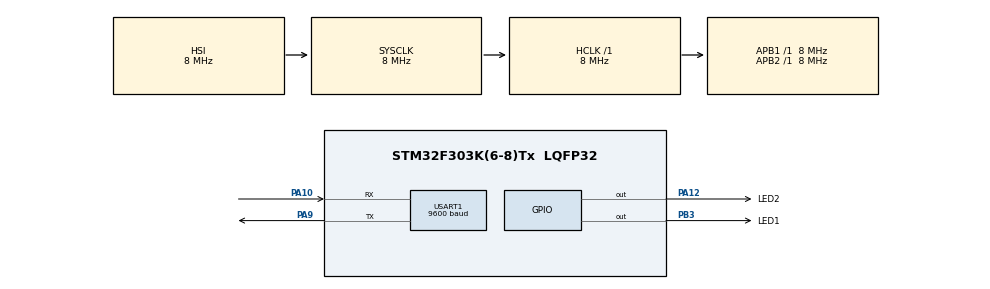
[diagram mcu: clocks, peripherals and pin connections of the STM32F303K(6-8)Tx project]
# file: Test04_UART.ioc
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Dma.Request0=USART1_RX
Dma.USART1_RX.0.Direction=DMA_PERIPH_TO_MEMORY
Dma.USART1_RX.0.Instance=DMA1_Channel5
Dma.USART1_RX.0.MemDataAlignment=DMA_MDATAALIGN_BYTE
Dma.USART1_RX.0.MemInc=DMA_MINC_ENABLE
Dma.USART1_RX.0.Mode=DMA_CIRCULAR
Dma.USART1_RX.0.PeriphDataAlignment=DMA_PDATAALIGN_BYTE
Dma.USART1_RX.0.PeriphInc=DMA_PINC_DISABLE
Dma.USART1_RX.0.Priority=DMA_PRIORITY_LOW
Mcu.Family=STM32F3
Mcu.Name=STM32F303K(6-8)Tx
Mcu.Package=LQFP32
NVIC.DMA1_Channel5_IRQn=true\:0\:0\:false\:true\:true\:2
NVIC.PriorityGroup=NVIC_PRIORITYGROUP_4
NVIC.USART1_IRQn=true\:0\:0\:false\:true\:true\:1
PA10.Mode=Asynchronous
PA10.Signal=USART1_RX
PA12.GPIO_Label=LED2
PA12.Signal=GPIO_Output
PA9.Mode=Asynchronous
PA9.Signal=USART1_TX
PB3.GPIO_Label=LED1
PB3.Signal=GPIO_Output
ProjectManager.HeapSize=0x200
ProjectManager.StackSize=0x400
ProjectManager.TargetToolchain=SW4STM32
RCC.AHBFreq_Value=8000000
RCC.APB1Freq_Value=8000000
RCC.APB2Freq_Value=8000000
RCC.CortexFreq_Value=8000000
RCC.HSE_VALUE=8000000
RCC.HSI_VALUE=8000000
RCC.SYSCLKFreq_VALUE=8000000
USART1.BaudRate=9600
USART1.WordLength=UART_WORDLENGTH_8B
board=Test04_UART

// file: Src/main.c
/**
  ******************************************************************************
  * File Name          : main.c
  * Description        : Main program body
  ******************************************************************************
  *
  * COPYRIGHT(c) 2017 STMicroelectronics
  *
  * Redistribution and use in source and binary forms, with or without modification,
  * are permitted provided that the following conditions are met:
  *   1. Redistributions of source code must retain the above copyright notice,
  *      this list of conditions and the following disclaimer.
  *   2. Redistributions in binary form must reproduce the above copyright notice,
  *      this list of conditions and the following disclaimer in the documentation
  *      and/or other materials provided with the distribution.
  *   3. Neither the name of STMicroelectronics nor the names of its contributors
  *      may be used to endorse or promote products derived from this software
  *      without specific prior written permission.
  *
  * THIS SOFTWARE IS PROVIDED BY THE COPYRIGHT HOLDERS AND CONTRIBUTORS "AS IS"
  * AND ANY EXPRESS OR IMPLIED WARRANTIES, INCLUDING, BUT NOT LIMITED TO, THE
  * IMPLIED WARRANTIES OF MERCHANTABILITY AND FITNESS FOR A PARTICULAR PURPOSE ARE
  * DISCLAIMED. IN NO EVENT SHALL THE COPYRIGHT HOLDER OR CONTRIBUTORS BE LIABLE
  * FOR ANY DIRECT, INDIRECT, INCIDENTAL, SPECIAL, EXEMPLARY, OR CONSEQUENTIAL
  * DAMAGES (INCLUDING, BUT NOT LIMITED TO, PROCUREMENT OF SUBSTITUTE GOODS OR
  * SERVICES; LOSS OF USE, DATA, OR PROFITS; OR BUSINESS INTERRUPTION) HOWEVER
  * CAUSED AND ON ANY THEORY OF LIABILITY, WHETHER IN CONTRACT, STRICT LIABILITY,
  * OR TORT (INCLUDING NEGLIGENCE OR OTHERWISE) ARISING IN ANY WAY OUT OF THE USE
  * OF THIS SOFTWARE, EVEN IF ADVISED OF THE POSSIBILITY OF SUCH DAMAGE.
  *
  ******************************************************************************
  */
#include "main.h"
#include "stm32f3xx_hal.h"

UART_HandleTypeDef huart1;
DMA_HandleTypeDef hdma_usart1_rx;

/* USER CODE BEGIN PV */
void put_c(uint8_t *);
void get_c(uint8_t *);
/* Private variables ---------------------------------------------------------*/
/* USER CODE END PV */

void SystemClock_Config(void);
void Error_Handler(void);
static void MX_GPIO_Init(void);
static void MX_DMA_Init(void);
static void MX_USART1_UART_Init(void);
static void MX_NVIC_Init(void);

/* USER CODE BEGIN PFP */
/* Private function prototypes -----------------------------------------------*/
/* USER CODE END PFP */

/* USER CODE BEGIN 0 */
/*uart data receive*/
uint8_t _buffer[4]={0,0,0,0};
/**/
uint8_t aTxBuffer[] = " ****UART_TwoBoards_ComIT****  ****UART_TwoBoards_ComIT****  ****UART_TwoBoards_ComIT**** ";
enum{RXBUFFSIZE = 5};
uint8_t RXBuffer[RXBUFFSIZE];
//uint8_t _RXBuffer[RXBUFFSIZE]="a";
uint8_t Uartready = 0;
/* USER CODE END 0 */

int main(void)
{

  /* USER CODE BEGIN 1 */
	uint8_t i = 0;
	uint8_t getdata[RXBUFFSIZE-1];
	uint8_t sdata[]="wako";
	uint8_t btn[13]={0,0,0,0,0,0,0,0,0,0,0,0,0};
  /* USER CODE END 1 */

  /* MCU Configuration----------------------------------------------------------*/

  /* Reset of all peripherals, Initializes the Flash interface and the Systick. */
  HAL_Init();

  /* Configure the system clock */
  SystemClock_Config();

  /* Initialize all configured peripherals */
  MX_GPIO_Init();
  MX_DMA_Init();
  MX_USART1_UART_Init();

  /* Initialize interrupts */
  MX_NVIC_Init();

  /* USER CODE BEGIN 2 */
	HAL_UART_Receive_DMA(&huart1, (uint8_t *)RXBuffer, RXBUFFSIZE);
  /* USER CODE END 2 */

  /* Infinite loop */
  while (1)
  {

  /* USER CODE BEGIN 3 */
		while(Uartready != 1){
		}
		Uartready = 0;
		get_c(getdata);
		if(getdata[3]==(getdata[0]+getdata[1]+getdata[2])){
			//put_c(getdata);
			btn[0]=getdata[0]&0x01!=0;
			btn[1]=getdata[0]&0x02!=0;
			btn[2]=getdata[0]&0x04!=0;
			btn[3]=getdata[0]&0x08!=0;
		}
	if(btn[0]){
			put_c(sdata);
	}

  }
  /* USER CODE END 3 */

}

/** System Clock Configuration
*/
void SystemClock_Config(void)
{

  RCC_OscInitTypeDef RCC_OscInitStruct;
  RCC_ClkInitTypeDef RCC_ClkInitStruct;
  RCC_PeriphCLKInitTypeDef PeriphClkInit;

    /**Initializes the CPU, AHB and APB busses clocks
    */
  RCC_OscInitStruct.OscillatorType = RCC_OSCILLATORTYPE_HSI;
  RCC_OscInitStruct.HSIState = RCC_HSI_ON;
  RCC_OscInitStruct.HSICalibrationValue = 16;
  RCC_OscInitStruct.PLL.PLLState = RCC_PLL_NONE;
  if (HAL_RCC_OscConfig(&RCC_OscInitStruct) != HAL_OK)
  {
    Error_Handler();
  }

    /**Initializes the CPU, AHB and APB busses clocks
    */
  RCC_ClkInitStruct.ClockType = RCC_CLOCKTYPE_HCLK|RCC_CLOCKTYPE_SYSCLK
                              |RCC_CLOCKTYPE_PCLK1|RCC_CLOCKTYPE_PCLK2;
  RCC_ClkInitStruct.SYSCLKSource = RCC_SYSCLKSOURCE_HSI;
  RCC_ClkInitStruct.AHBCLKDivider = RCC_SYSCLK_DIV1;
  RCC_ClkInitStruct.APB1CLKDivider = RCC_HCLK_DIV1;
  RCC_ClkInitStruct.APB2CLKDivider = RCC_HCLK_DIV1;

  if (HAL_RCC_ClockConfig(&RCC_ClkInitStruct, FLASH_LATENCY_0) != HAL_OK)
  {
    Error_Handler();
  }

  PeriphClkInit.PeriphClockSelection = RCC_PERIPHCLK_USART1;
  PeriphClkInit.Usart1ClockSelection = RCC_USART1CLKSOURCE_PCLK1;
  if (HAL_RCCEx_PeriphCLKConfig(&PeriphClkInit) != HAL_OK)
  {
    Error_Handler();
  }

    /**Configure the Systick interrupt time
    */
  HAL_SYSTICK_Config(HAL_RCC_GetHCLKFreq()/1000);

    /**Configure the Systick
    */
  HAL_SYSTICK_CLKSourceConfig(SYSTICK_CLKSOURCE_HCLK);

  /* SysTick_IRQn interrupt configuration */
  HAL_NVIC_SetPriority(SysTick_IRQn, 0, 0);
}

/** NVIC Configuration
*/
static void MX_NVIC_Init(void)
{
  /* USART1_IRQn interrupt configuration */
  HAL_NVIC_SetPriority(USART1_IRQn, 0, 0);
  HAL_NVIC_EnableIRQ(USART1_IRQn);
  /* DMA1_Channel5_IRQn interrupt configuration */
  HAL_NVIC_SetPriority(DMA1_Channel5_IRQn, 0, 0);
  HAL_NVIC_EnableIRQ(DMA1_Channel5_IRQn);
}

/* USART1 init function */
static void MX_USART1_UART_Init(void)
{

  huart1.Instance = USART1;
  huart1.Init.BaudRate = 9600;
  huart1.Init.WordLength = UART_WORDLENGTH_8B;
  huart1.Init.StopBits = UART_STOPBITS_1;
  huart1.Init.Parity = UART_PARITY_NONE;
  huart1.Init.Mode = UART_MODE_TX_RX;
  huart1.Init.HwFlowCtl = UART_HWCONTROL_NONE;
  huart1.Init.OverSampling = UART_OVERSAMPLING_16;
  huart1.Init.OneBitSampling = UART_ONE_BIT_SAMPLE_DISABLE;
  huart1.AdvancedInit.AdvFeatureInit = UART_ADVFEATURE_NO_INIT;
  if (HAL_UART_Init(&huart1) != HAL_OK)
  {
    Error_Handler();
  }

}

static void MX_DMA_Init(void)
{
  /* DMA controller clock enable */
  __HAL_RCC_DMA1_CLK_ENABLE();

}

/** Configure pins as
        * Analog
        * Input
        * Output
        * EVENT_OUT
        * EXTI
*/
static void MX_GPIO_Init(void)
{

  GPIO_InitTypeDef GPIO_InitStruct;

  /* GPIO Ports Clock Enable */
  __HAL_RCC_GPIOA_CLK_ENABLE();
  __HAL_RCC_GPIOB_CLK_ENABLE();

  /*Configure GPIO pin Output Level */
  HAL_GPIO_WritePin(LED2_GPIO_Port, LED2_Pin, GPIO_PIN_RESET);

  /*Configure GPIO pin Output Level */
  HAL_GPIO_WritePin(LED1_GPIO_Port, LED1_Pin, GPIO_PIN_RESET);

  /*Configure GPIO pin : LED2_Pin */
  GPIO_InitStruct.Pin = LED2_Pin;
  GPIO_InitStruct.Mode = GPIO_MODE_OUTPUT_PP;
  GPIO_InitStruct.Pull = GPIO_NOPULL;
  GPIO_InitStruct.Speed = GPIO_SPEED_FREQ_LOW;
  HAL_GPIO_Init(LED2_GPIO_Port, &GPIO_InitStruct);

  /*Configure GPIO pin : LED1_Pin */
  GPIO_InitStruct.Pin = LED1_Pin;
  GPIO_InitStruct.Mode = GPIO_MODE_OUTPUT_PP;
  GPIO_InitStruct.Pull = GPIO_NOPULL;
  GPIO_InitStruct.Speed = GPIO_SPEED_FREQ_LOW;
  HAL_GPIO_Init(LED1_GPIO_Port, &GPIO_InitStruct);

}

/* USER CODE BEGIN 4 */
void HAL_UART_TxCpltCallback(UART_HandleTypeDef *UartHandle)
{
	Uartready = 1;
}
void HAL_UART_RxCpltCallback(UART_HandleTypeDef *UartHandle)
{
	HAL_GPIO_TogglePin(LED1_GPIO_Port,LED1_Pin);
	Uartready = 1;
}
void HAL_UART_ErrorCallback(UART_HandleTypeDef *UartHandle)
{
    Error_Handler();
}
void put_c(uint8_t * data){
	HAL_UART_Transmit_IT(&huart1, data, sizeof(data));
}
void get_c(uint8_t * data){
	int _i=0;
	if(RXBuffer[0]=='$'){
		RXBuffer[0] = 0;
		for( _i=0; _i<sizeof(data); _i++){
			data[_i] = RXBuffer[_i+1];
			RXBuffer[_i+1] = 0;
		}
	}else{
		for( _i=0; _i<sizeof(data); _i++){
			data[_i] = 0;
		}
	}
}
/* USER CODE END 4 */

void Error_Handler(void)
{
  /* USER CODE BEGIN Error_Handler */
  /* User can add his own implementation to report the HAL error return state */
  while(1)
  {
		HAL_GPIO_WritePin(LED1_GPIO_Port,LED1_Pin,GPIO_PIN_SET);
		HAL_Delay(50);
		HAL_GPIO_WritePin(LED1_GPIO_Port,LED1_Pin,GPIO_PIN_RESET);
		HAL_Delay(50);
  }
  /* USER CODE END Error_Handler */
}

/************************ (C) COPYRIGHT STMicroelectronics *****END OF FILE****/
